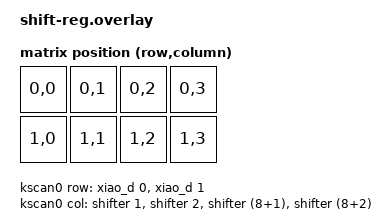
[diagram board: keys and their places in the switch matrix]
#include <dt-bindings/zmk/matrix_transform.h>
#include <physical_layouts.dtsi>

&xiao_serial { status = "disabled"; };

// shift-register
&pinctrl {
    spi0_default: spi0_default {
        group1 {
            psels = <NRF_PSEL(SPIM_SCK,  0, 5)>,    // XIAO #6(P0.05=D5/SCL)   --> 595 #11(SRCLK)
                    <NRF_PSEL(SPIM_MOSI, 0, 4)>,    // XIAO #5(P0.04=D4/SDA)   --> 595 #14(SER)
//                  <NRF_PSEL(SPIM_MISO, 1, 14)>;   // XIAO #10(P1.14=D9/MISO by default) --> N.C.
                    <NRF_PSEL(SPIM_MISO, 0, 4)>;    // XIAO #5(P0.04=D4/SDA)   --> 595 #14(SER)
        };
    };

    spi0_sleep: spi0_sleep {
        group1 {
            psels = <NRF_PSEL(SPIM_SCK,  0, 5)>,    // XIAO #6(P0.05=D5/SCL)   --> 595 #11(SRCLK)
                    <NRF_PSEL(SPIM_MOSI, 0, 4)>,    // XIAO #5(P0.04=D4/SDA)   --> 595 #14(SER)
//                  <NRF_PSEL(SPIM_MISO, 1, 14)>;   // XIAO #10(P1.14=D9/MISO by default) --> N.C.
                    <NRF_PSEL(SPIM_MISO, 0, 4)>;    // XIAO #5(P0.04=D4/SDA)   --> 595 #14(SER)
            low-power-enable;
        };
    };
};

// note: xiao_spi is alias to spi2 at zmk/zephyr/boards/arm/seeeduino_xiao_ble/seeed_xiao_connector.dts:29

&spi0 {
    compatible = "nordic,nrf-spim";
	status = "okay";
    pinctrl-0 = <&spi0_default>;
    pinctrl-1 = <&spi0_sleep>;
    pinctrl-names = "default", "sleep";
 // cs-gpios = <&xiao_d 7 GPIO_ACTIVE_LOW>;         // XIAO #8(P1.12=D7/RX)    --> 595 #12(RCLK) as /CS
	cs-gpios = <&xiao_d 6 GPIO_ACTIVE_LOW>;         // XIAO #7(P1.11=D6/TX)    --> 595 #12(RCLK) as /CS
	shifter: 595@0 {
		compatible = "zmk,gpio-595";
		status = "okay";
		gpio-controller;
		spi-max-frequency = <300000>;
		reg = <0>;
		#gpio-cells = <2>;
		ngpios = <16>;
	};
};

/ {
	chosen {
		zmk,physical-layout = &physical_layout;
	};

	physical_layout: physical_layout {
		compatible = "zmk,physical-layout";
		display-name = "Default Layout";
		kscan = <&kscan0>;
		transform = <&default_transform>;

		keys
        //                          w   h   x   y  rot rx ry
            = <&key_physical_attrs 100 100   0   0  0   0  0>
            , <&key_physical_attrs 100 100 100   0  0   0  0>
            , <&key_physical_attrs 100 100 200   0  0   0  0>
            , <&key_physical_attrs 100 100 300   0  0   0  0>
            , <&key_physical_attrs 100 100   0 100  0   0  0>
            , <&key_physical_attrs 100 100 100 100  0   0  0>
            , <&key_physical_attrs 100 100 200 100  0   0  0>
            , <&key_physical_attrs 100 100 300 100  0   0  0>
            ;
	};

	default_transform: keymap_transform0 {
		compatible = "zmk,matrix-transform";
		columns = <4>;
		rows = <2>;
		map = <
RC(0,0) RC(0,1) RC(0,2) RC(0,3)
RC(1,0) RC(1,1) RC(1,2) RC(1,3)
		>;
	};

	kscan0: kscan_0 {
		compatible = "zmk,kscan-gpio-matrix";
		diode-direction = "col2row";

		col-gpios
            = <&shifter 1 GPIO_ACTIVE_HIGH>         // col0: 1st 595 #1(QB) -> 1
            , <&shifter 2 GPIO_ACTIVE_HIGH>         // col1: 1st 595 #2(QC) -> 2
            , <&shifter (8+1) GPIO_ACTIVE_HIGH>     // col2: 2nd 595 #1(QB) -> 8+1=9
            , <&shifter (8+2) GPIO_ACTIVE_HIGH>     // col3: 2nd 595 #2(QC) -> 8+2=10
			;

		row-gpios
			= <&xiao_d 0 (GPIO_ACTIVE_HIGH | GPIO_PULL_DOWN)>
			, <&xiao_d 1 (GPIO_ACTIVE_HIGH | GPIO_PULL_DOWN)>
			;
	};

};
